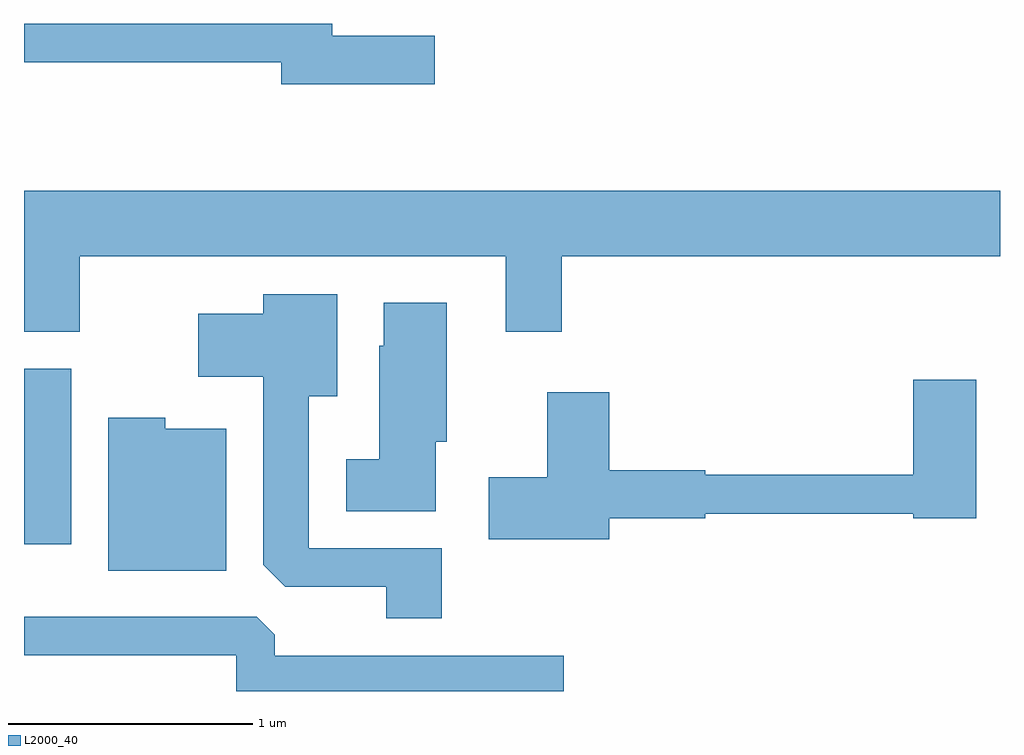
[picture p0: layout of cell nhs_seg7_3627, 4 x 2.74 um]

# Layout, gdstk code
import gdstk
lib = gdstk.Library(unit=1e-6, precision=1e-09)
def R(c, l, rs):  # rectangles x0, y0, x1, y1
    for r in rs: c.add(gdstk.rectangle(r[:2], r[2:], *l))
def P(c, l, *ps):  # polygons
    for p in ps: c.add(gdstk.Polygon(p, *l))
L2000_40 = (2000, 40)

nhs_seg7_3627 = lib.new_cell('nhs_seg7_3627')
R(nhs_seg7_3627, L2000_40, [(295.611,1770.856,295.804,1771.574)])
P(nhs_seg7_3627, L2000_40, [(297.294,1772.939),(296.874,1772.939),(296.874,1772.989),(295.611,1772.989),(295.611,1772.831),(296.666,1772.831),(296.666,1772.741),(297.294,1772.741)],
  [(295.839,1772.036),(297.586,1772.036),(297.586,1771.726),(297.814,1771.726),(297.814,1772.036),(299.611,1772.036),(299.611,1772.304),(295.611,1772.304),(295.611,1771.726),(295.839,1771.726)],
  [(297.324,1770.839),(296.779,1770.839),(296.779,1771.461),(296.894,1771.461),(296.894,1771.879),(296.591,1771.879),(296.591,1771.799),(296.326,1771.799),(296.326,1771.541),(296.591,1771.541),(296.591,1770.772),(296.682,1770.681),(297.096,1770.681),(297.096,1770.551),(297.324,1770.551)],
  [(297.299,1771.276),(297.344,1771.276),(297.344,1771.844),(297.086,1771.844),(297.086,1771.669),(297.066,1771.669),(297.066,1771.204),(296.931,1771.204),(296.931,1770.991),(297.299,1770.991)],
  [(298.009,1770.961),(298.404,1770.961),(298.404,1770.981),(299.256,1770.981),(299.256,1770.961),(299.514,1770.961),(299.514,1771.529),(299.256,1771.529),(299.256,1771.139),(298.404,1771.139),(298.404,1771.159),(298.009,1771.159),(298.009,1771.479),(297.756,1771.479),(297.756,1771.129),(297.516,1771.129),(297.516,1770.876),(298.009,1770.876)],
  [(296.439,1771.329),(296.189,1771.329),(296.189,1771.374),(295.956,1771.374),(295.956,1770.746),(296.439,1770.746)],
  [(297.823,1770.399),(296.639,1770.399),(296.639,1770.484),(296.564,1770.559),(295.611,1770.559),(295.611,1770.401),(296.481,1770.401),(296.481,1770.252),(297.823,1770.252)])

lib.write_gds('nhs_seg7_3627.gds')
